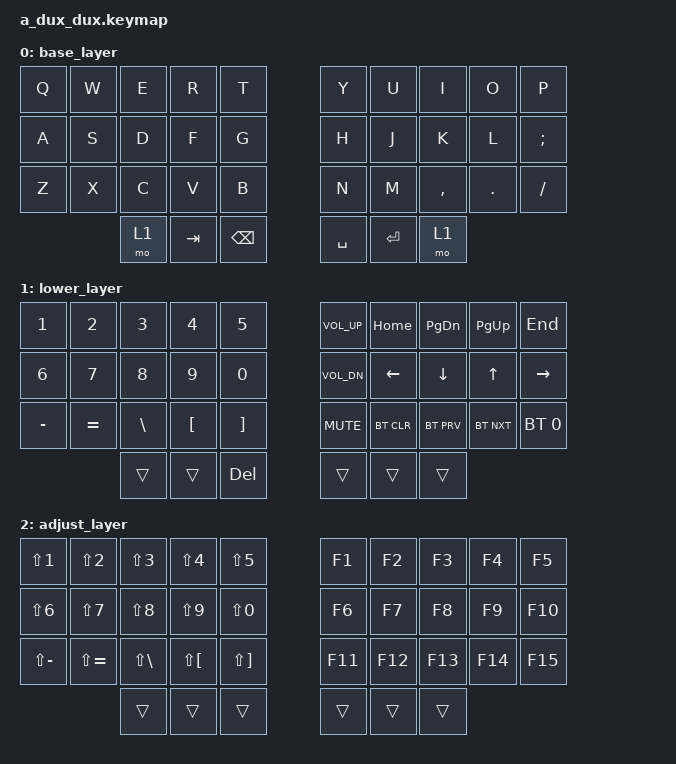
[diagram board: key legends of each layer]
/*
 * Copyright (c) 2021 The ZMK Contributors
 *
 * SPDX-License-Identifier: MIT
 */

#include <behaviors.dtsi>
#include <dt-bindings/zmk/keys.h>

/ {

	keymap {
		compatible = "zmk,keymap";

		// This is a sample keymap intended to be replaced with your own
		base_layer {
			bindings = <
				&kp Q     &kp W     &kp E     &kp R     &kp T       &kp Y     &kp U     &kp I     &kp O     &kp P
				&kp A     &kp S     &kp D     &kp F     &kp G       &kp H     &kp J     &kp K     &kp L     &kp SEMI
				&kp Z     &kp X     &kp C     &kp V     &kp B       &kp N     &kp M     &kp COMMA &kp DOT   &kp SLASH
				                    &mo 1     &kp TAB   &kp BSPC    &kp SPACE &kp ENTER &mo 1
			>;
		};
		lower_layer {
      bindings = <
    		&kp N1    &kp N2    &kp N3   &kp N4   &kp N5   &kp C_VOL_UP &kp HOME &kp PG_DN    &kp PG_UP  &kp END         
    		&kp N6    &kp N7    &kp N8   &kp N9   &kp N0   &kp C_VOL_DN &kp LEFT &kp DOWN     &kp UP     &kp RIGHT
    		&kp MINUS &kp EQUAL &kp BSLH &kp LBKT &kp RBKT &kp C_MUTE   &bt BT_CLR &bt BT_PRV &bt BT_NXT &bt 0  
        		              	&trans   &trans   &kp DEL  &trans       &trans     &trans
      >;
    };

  	adjust_layer {
    	bindings = <
  			&kp LS(N1)    &kp LS(N2)    &kp LS(N3)   &kp LS(N4)   &kp LS(N5)   &kp F1  &kp F2  &kp F3  &kp F4  &kp F5
  			&kp LS(N6)    &kp LS(N7)    &kp LS(N8)   &kp LS(N9)   &kp LS(N0)   &kp F6  &kp F7  &kp F8  &kp F9  &kp F10
  			&kp LS(MINUS) &kp LS(EQUAL) &kp LS(BSLH) &kp LS(LBKT) &kp LS(RBKT) &kp F11 &kp F12 &kp F13 &kp F14 &kp F15
  																	&trans       &trans       &trans       &trans  &trans  &trans
    	>;
  	};
	};
};
